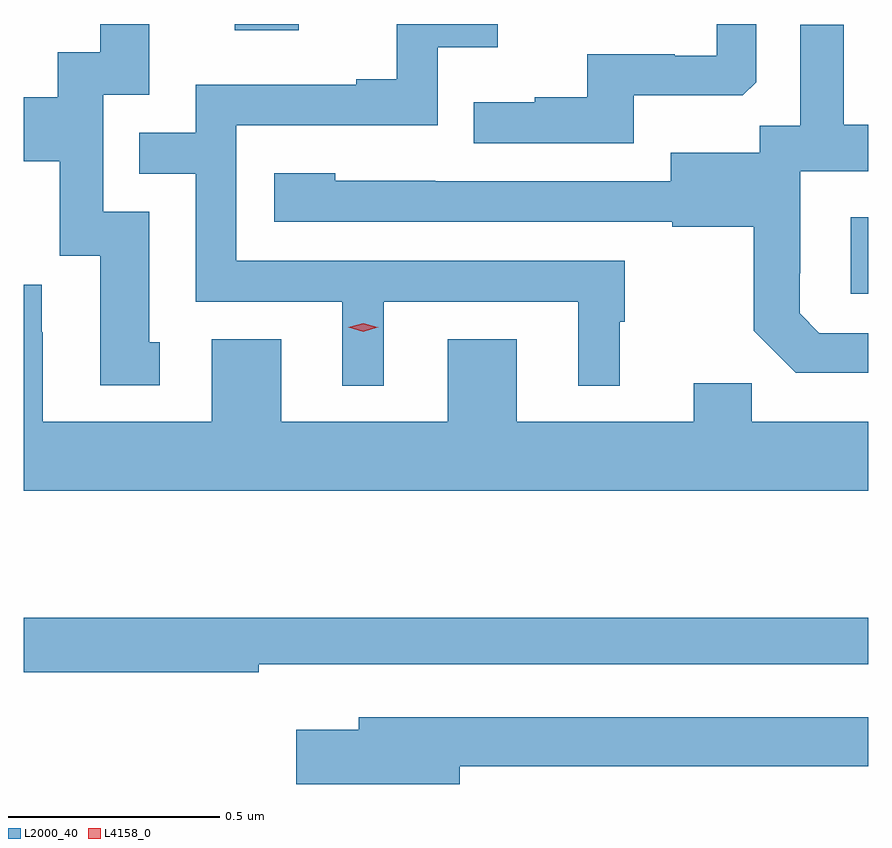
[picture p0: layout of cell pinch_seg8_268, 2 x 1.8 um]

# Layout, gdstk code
import gdstk
lib = gdstk.Library(unit=1e-6, precision=1e-09)
def R(c, l, rs):  # rectangles x0, y0, x1, y1
    for r in rs: c.add(gdstk.rectangle(r[:2], r[2:], *l))
def P(c, l, *ps):  # polygons
    for p in ps: c.add(gdstk.Polygon(p, *l))
L2000_40 = (2000, 40)
L4158_0 = (4158, 0)

pinch_seg8_268 = lib.new_cell('pinch_seg8_268')
R(pinch_seg8_268, L2000_40, [(576.683,1162.254,576.725,1162.435), (575.225,1162.878,575.377,1162.893)])
P(pinch_seg8_268, L2000_40, [(576.169,1162.724),(576.427,1162.724),(576.459,1162.755),(576.459,1162.893),(576.366,1162.893),(576.366,1162.818),(576.266,1162.818),(576.266,1162.821),(576.059,1162.821),(576.059,1162.72),(575.935,1162.72),(575.935,1162.708),(575.791,1162.708),(575.791,1162.611),(576.169,1162.611)],
  [(575.578,1162.236),(576.038,1162.236),(576.038,1162.037),(576.136,1162.037),(576.136,1162.188),(576.148,1162.188),(576.148,1162.332),(575.229,1162.332),(575.229,1162.653),(575.706,1162.653),(575.706,1162.838),(575.848,1162.838),(575.848,1162.893),(575.608,1162.893),(575.608,1162.762),(575.513,1162.762),(575.513,1162.749),(575.133,1162.749),(575.133,1162.635),(574.999,1162.635),(574.999,1162.539),(575.133,1162.539),(575.133,1162.236),(575.48,1162.236),(575.48,1162.037),(575.578,1162.037)],
  [(575.047,1162.14),(575.023,1162.14),(575.023,1162.449),(574.914,1162.449),(574.914,1162.725),(575.023,1162.725),(575.023,1162.893),(574.907,1162.893),(574.907,1162.826),(574.806,1162.826),(574.806,1162.72),(574.725,1162.72),(574.725,1162.568),(574.811,1162.568),(574.811,1162.344),(574.907,1162.344),(574.907,1162.038),(575.047,1162.038)],
  [(576.725,1162.161),(576.609,1162.161),(576.562,1162.208),(576.562,1162.303),(576.564,1162.303),(576.564,1162.544),(576.725,1162.544),(576.725,1162.654),(576.667,1162.654),(576.667,1162.891),(576.563,1162.891),(576.563,1162.652),(576.468,1162.652),(576.468,1162.588),(576.257,1162.588),(576.257,1162.521),(575.699,1162.521),(575.699,1162.522),(575.463,1162.522),(575.463,1162.54),(575.319,1162.54),(575.319,1162.425),(576.261,1162.425),(576.261,1162.413),(576.453,1162.413),(576.453,1162.167),(576.553,1162.067),(576.725,1162.067)],
  [(575.171,1162.147),(575.171,1161.952),(574.771,1161.952),(574.771,1162.163),(574.768,1162.163),(574.768,1162.276),(574.725,1162.276),(574.725,1161.788),(576.725,1161.788),(576.725,1161.952),(576.449,1161.952),(576.449,1162.043),(576.311,1162.043),(576.311,1161.952),(575.893,1161.952),(575.893,1162.147),(575.729,1162.147),(575.729,1161.952),(575.335,1161.952),(575.335,1162.147)],
  [(575.282,1161.378),(576.725,1161.378),(576.725,1161.487),(574.725,1161.487),(574.725,1161.358),(575.282,1161.358)],
  [(575.758,1161.136),(576.725,1161.136),(576.725,1161.252),(575.519,1161.252),(575.519,1161.223),(575.37,1161.223),(575.37,1161.094),(575.758,1161.094)])
P(pinch_seg8_268, L4158_0, [(575.529,1162.165),(575.494,1162.175),(575.493,1162.175),(575.494,1162.175),(575.529,1162.185),(575.564,1162.175),(575.565,1162.175),(575.564,1162.175)])

lib.write_gds('pinch_seg8_268.gds')
